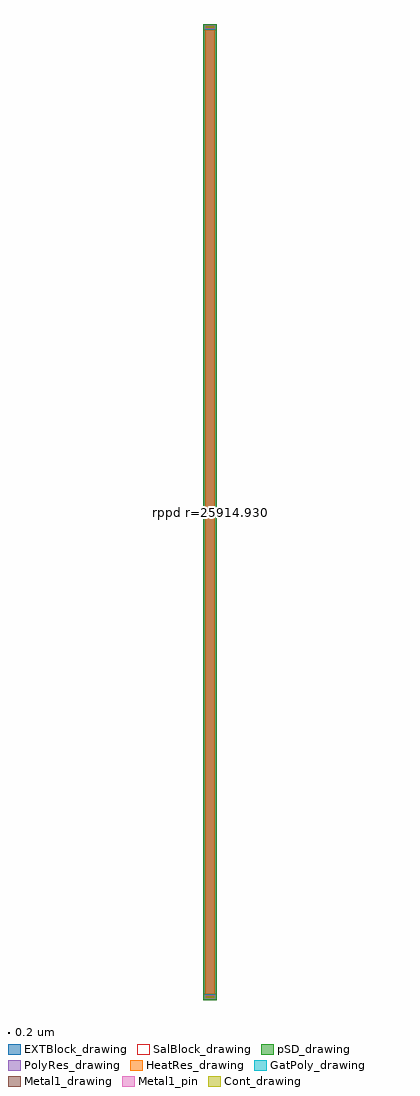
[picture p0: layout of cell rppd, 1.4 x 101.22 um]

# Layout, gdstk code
import gdstk
lib = gdstk.Library(unit=1e-6, precision=1e-09)
def R(c, l, rs):  # rectangles x0, y0, x1, y1
    for r in rs: c.add(gdstk.rectangle(r[:2], r[2:], *l))
GatPoly_drawing = (5, 0)
Cont_drawing = (6, 0)
Metal1_drawing = (8, 0)
Metal1_pin = (8, 2)
pSD_drawing = (14, 0)
SalBlock_drawing = (28, 0)
HeatRes_drawing = (52, 0)
EXTBlock_drawing = (111, 0)
PolyRes_drawing = (128, 0)

rppd = lib.new_cell('rppd')
R(rppd, GatPoly_drawing, [(0,-0.43,1,-0.2), (0,-0.2,1,0), (0,100,1,100.2), (0,100.2,1,100.43)])
R(rppd, Cont_drawing, [(0.07,-0.36,0.93,-0.2), (0.07,100.2,0.93,100.36)])
R(rppd, Metal1_drawing, [(0.02,-0.43,0.98,-0.13), (0.02,100.13,0.98,100.43)])
R(rppd, Metal1_pin, [(0.02,-0.43,0.98,-0.13), (0.02,100.13,0.98,100.43)])
R(rppd, pSD_drawing, [(-0.18,-0.61,1.18,0), (-0.18,0,1.18,100), (-0.18,100,1.18,100.61)])
R(rppd, SalBlock_drawing, [(-0.2,0,1.2,100)])
R(rppd, HeatRes_drawing, [(0,0,1,100)])
R(rppd, EXTBlock_drawing, [(-0.18,-0.61,1.18,0), (-0.2,0,1.2,100), (-0.18,100,1.18,100.61)])
R(rppd, PolyRes_drawing, [(0,0,1,100)])
rppd.add(gdstk.Label('rppd r=25914.930', (0.5,50), layer=63, texttype=0))
rppd.add(gdstk.Label('rppd', (0.5,50), layer=52, texttype=0))

lib.write_gds('rppd.gds')
